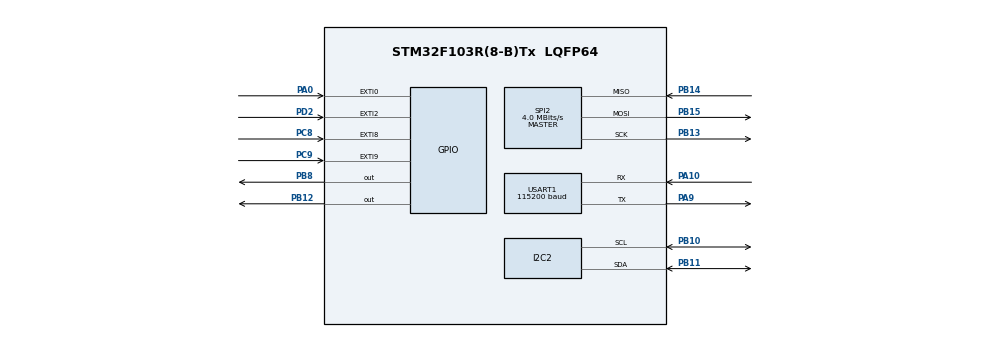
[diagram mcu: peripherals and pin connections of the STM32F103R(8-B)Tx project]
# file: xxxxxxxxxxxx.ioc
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Mcu.Family=STM32F1
Mcu.Name=STM32F103R(8-B)Tx
Mcu.Package=LQFP64
NVIC.EXTI0_IRQn=true\:2\:2\:true\:false\:true\:true\:true
NVIC.EXTI2_IRQn=true\:2\:1\:true\:false\:true\:true\:true
NVIC.EXTI9_5_IRQn=true\:2\:0\:true\:false\:true\:true\:true
NVIC.PriorityGroup=NVIC_PRIORITYGROUP_2
NVIC.RTC_Alarm_IRQn=true\:0\:0\:true\:false\:true\:true\:true
NVIC.RTC_IRQn=true\:1\:2\:true\:false\:true\:true\:true
NVIC.USART1_IRQn=true\:3\:3\:true\:false\:true\:true\:true
PA0-WKUP.GPIO_PuPd=GPIO_PULLDOWN
PA0-WKUP.Signal=GPXTI0
PA10.Mode=Asynchronous
PA10.Signal=USART1_RX
PA9.Mode=Asynchronous
PA9.Signal=USART1_TX
PB10.Mode=I2C
PB10.Signal=I2C2_SCL
PB11.Mode=I2C
PB11.Signal=I2C2_SDA
PB12.GPIO_PuPd=GPIO_PULLUP
PB12.GPIO_Speed=GPIO_SPEED_FREQ_HIGH
PB12.PinState=GPIO_PIN_SET
PB12.Signal=GPIO_Output
PB13.Mode=Full_Duplex_Master
PB13.Signal=SPI2_SCK
PB14.Mode=Full_Duplex_Master
PB14.Signal=SPI2_MISO
PB15.Mode=Full_Duplex_Master
PB15.Signal=SPI2_MOSI
PB8.GPIO_Speed=GPIO_SPEED_FREQ_HIGH
PB8.PinState=GPIO_PIN_SET
PB8.Signal=GPIO_Output
PC14-OSC32_IN.Mode=LSE-External-Oscillator
PC14-OSC32_IN.Signal=RCC_OSC32_IN
PC15-OSC32_OUT.Mode=LSE-External-Oscillator
PC15-OSC32_OUT.Signal=RCC_OSC32_OUT
PC8.GPIO_ModeDefaultEXTI=GPIO_MODE_IT_FALLING
PC8.GPIO_PuPd=GPIO_PULLUP
PC8.Signal=GPXTI8
PC9.GPIO_ModeDefaultEXTI=GPIO_MODE_IT_FALLING
PC9.GPIO_PuPd=GPIO_PULLUP
PC9.Signal=GPXTI9
PD2.GPIO_ModeDefaultEXTI=GPIO_MODE_IT_FALLING
PD2.GPIO_PuPd=GPIO_PULLUP
PD2.Signal=GPXTI2
ProjectManager.HeapSize=0x200
ProjectManager.StackSize=0x400
ProjectManager.TargetToolchain=MDK-ARM V5.27
RCC.APB1Freq_Value=8000000
RCC.APB2Freq_Value=8000000
RCC.RTCClockSelection=RCC_RTCCLKSOURCE_LSE
RTC.Date=19
RTC.Hours=0
RTC.Minutes=30
RTC.Month=RTC_MONTH_AUGUST
RTC.WeekDay=RTC_WEEKDAY_THURSDAY
RTC.Year=20
SPI2.CLKPhase=SPI_PHASE_2EDGE
SPI2.CLKPolarity=SPI_POLARITY_HIGH
SPI2.CRCCalculation=SPI_CRCCALCULATION_ENABLE
SPI2.CalculateBaudRate=4.0 MBits/s
SPI2.Direction=SPI_DIRECTION_2LINES
SPI2.Mode=SPI_MODE_MASTER
SPI2.VirtualType=VM_MASTER
USART1.BaudRate=115200
USART1.VirtualMode=VM_ASYNC
VP_RTC_No_RTC_Output.Mode=RTC_OUT_NO
VP_RTC_VS_RTC_Activate.Mode=RTC_Enabled
VP_RTC_VS_RTC_Calendar.Mode=RTC_Calendar
VP_SYS_VS_ND.Mode=No_Debug
board=custom

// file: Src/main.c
/* USER CODE BEGIN Header */
/**
  ******************************************************************************
  * @file           : main.c
  * @brief          : Main program body
  ******************************************************************************
  * @attention
  *
  * <h2><center>&copy; Copyright (c) 2020 STMicroelectronics.
  * All rights reserved.</center></h2>
  *
  * This software component is licensed by ST under BSD 3-Clause license,
  * the "License"; You may not use this file except in compliance with the
  * License. You may obtain a copy of the License at:
  *                        opensource.org/licenses/BSD-3-Clause
  *
  ******************************************************************************
  */
/* USER CODE END Header */

#include "main.h"

/* USER CODE BEGIN Includes */
#include "ssd1306_tests.h"
#include "stdio.h"
#include "menu.h"
#include "w25qxx.h"
/* USER CODE END Includes */

/* USER CODE BEGIN PD */
#define RXBUFFERSIZE 10
/* USER CODE END PD */

I2C_HandleTypeDef hi2c2;

RTC_HandleTypeDef hrtc;

SPI_HandleTypeDef hspi2;

UART_HandleTypeDef huart1;

/* USER CODE BEGIN PV */
extern int menuType;
RTC_DateTypeDef GetData;

RTC_TimeTypeDef GetTime;
int beep = 0;
volatile int needRead = 0;
uint16_t pageAddr = 10;
volatile int isOperation = 0;

volatile uint8_t aRxBuffer;
uint8_t buffer[256] = {0};
volatile uint8_t bufferCount = 0;
volatile uint8_t startCount = 0;
volatile uint8_t stopCount = 0;
volatile uint32_t pageIndex = 20;
volatile uint32_t startPage = 20;
volatile uint32_t endPage = 20;
volatile uint32_t currentPage = 0;
volatile int inTransfer = 0;
volatile int stop = 0;
volatile int xxxx = 0;
uint8_t totalPage = 0;
/* USER CODE END PV */

void SystemClock_Config(void);
static void MX_GPIO_Init(void);
static void MX_I2C2_Init(void);
static void MX_USART1_UART_Init(void);
static void MX_RTC_Init(void);
static void MX_SPI2_Init(void);

/* USER CODE BEGIN 0 */
int fputc(int ch, FILE *f)
{
  uint8_t temp[1] = {ch};
  HAL_UART_Transmit(&huart1, temp, 1, 2);
  return ch;
}
void write(){
	isOperation = 1;
	 W25qxx_ErasePage(pageIndex);
   W25qxx_WritePage(buffer, pageIndex, 10, 0);
	 pageIndex++;
	 W25qxx_ErasePage(5);
	 W25qxx_WritePage((uint8_t*)&pageIndex, 5, 10, 1);
	 isOperation = 0;
};
void read(){
		W25qxx_ReadPage(buffer,10,10,0);
}
/* USER CODE END 0 */

int main(void)
{

  /* MCU Configuration--------------------------------------------------------*/

  /* Reset of all peripherals, Initializes the Flash interface and the Systick. */
  HAL_Init();

  /* Configure the system clock */
  SystemClock_Config();

  /* Initialize all configured peripherals */
  MX_GPIO_Init();
  MX_I2C2_Init();
  MX_USART1_UART_Init();
  MX_RTC_Init();
  MX_SPI2_Init();
  /* USER CODE BEGIN 2 */
	printf("xxx");
  uint8_t ms[] = {"Hello World!"};
	W25qxx_ErasePage(0);
	W25qxx_WritePage(ms,10,10,0);
	W25qxx_ReadPage(buffer,10,10,0);

  /* USER CODE END 2 */

  /* Infinite loop */
  /* USER CODE BEGIN WHILE */
  while (1)
  {

		if(bufferCount==245)
			{
			if(stop){
				bufferCount = 0;
			}
			printf(buffer);
			write();
			HAL_UART_Receive_IT(&huart1, (uint8_t *)&aRxBuffer, 1);
			}else{
				HAL_UART_Receive_IT(&huart1, (uint8_t *)&aRxBuffer, 1);
			}
    // HAL_GPIO_TogglePin(GPIOC, GPIO_PIN_0);
    // HAL_Delay(500);
    /* USER CODE END WHILE */

  }
}

void SystemClock_Config(void)
{
  RCC_OscInitTypeDef RCC_OscInitStruct = {0};
  RCC_ClkInitTypeDef RCC_ClkInitStruct = {0};
  RCC_PeriphCLKInitTypeDef PeriphClkInit = {0};

  /** Initializes the CPU, AHB and APB busses clocks
  */
  RCC_OscInitStruct.OscillatorType = RCC_OSCILLATORTYPE_HSI | RCC_OSCILLATORTYPE_LSE;
  RCC_OscInitStruct.LSEState = RCC_LSE_ON;
  RCC_OscInitStruct.HSIState = RCC_HSI_ON;
  RCC_OscInitStruct.HSICalibrationValue = RCC_HSICALIBRATION_DEFAULT;
  RCC_OscInitStruct.PLL.PLLState = RCC_PLL_NONE;
  if (HAL_RCC_OscConfig(&RCC_OscInitStruct) != HAL_OK)
  {
    Error_Handler();
  }
  /** Initializes the CPU, AHB and APB busses clocks
  */
  RCC_ClkInitStruct.ClockType = RCC_CLOCKTYPE_HCLK | RCC_CLOCKTYPE_SYSCLK | RCC_CLOCKTYPE_PCLK1 | RCC_CLOCKTYPE_PCLK2;
  RCC_ClkInitStruct.SYSCLKSource = RCC_SYSCLKSOURCE_HSI;
  RCC_ClkInitStruct.AHBCLKDivider = RCC_SYSCLK_DIV1;
  RCC_ClkInitStruct.APB1CLKDivider = RCC_HCLK_DIV1;
  RCC_ClkInitStruct.APB2CLKDivider = RCC_HCLK_DIV1;

  if (HAL_RCC_ClockConfig(&RCC_ClkInitStruct, FLASH_LATENCY_0) != HAL_OK)
  {
    Error_Handler();
  }
  PeriphClkInit.PeriphClockSelection = RCC_PERIPHCLK_RTC;
  PeriphClkInit.RTCClockSelection = RCC_RTCCLKSOURCE_LSE;
  if (HAL_RCCEx_PeriphCLKConfig(&PeriphClkInit) != HAL_OK)
  {
    Error_Handler();
  }
}

static void MX_I2C2_Init(void)
{

  hi2c2.Instance = I2C2;
  hi2c2.Init.ClockSpeed = 100000;
  hi2c2.Init.DutyCycle = I2C_DUTYCYCLE_2;
  hi2c2.Init.OwnAddress1 = 0;
  hi2c2.Init.AddressingMode = I2C_ADDRESSINGMODE_7BIT;
  hi2c2.Init.DualAddressMode = I2C_DUALADDRESS_DISABLE;
  hi2c2.Init.OwnAddress2 = 0;
  hi2c2.Init.GeneralCallMode = I2C_GENERALCALL_DISABLE;
  hi2c2.Init.NoStretchMode = I2C_NOSTRETCH_DISABLE;
  if (HAL_I2C_Init(&hi2c2) != HAL_OK)
  {
    Error_Handler();
  }
  /* USER CODE BEGIN I2C2_Init 2 */
  ssd1306_Init();
  fillBlack();
  init();
  showMenu();
  /* USER CODE END I2C2_Init 2 */
}

static void MX_RTC_Init(void)
{

  RTC_TimeTypeDef sTime = {0};
  RTC_DateTypeDef DateToUpdate = {0};

  /** Initialize RTC Only
  */
  hrtc.Instance = RTC;
  hrtc.Init.AsynchPrediv = RTC_AUTO_1_SECOND;
  hrtc.Init.OutPut = RTC_OUTPUTSOURCE_NONE;
  if (HAL_RTC_Init(&hrtc) != HAL_OK)
  {
    Error_Handler();
  }

  /** Initialize RTC and set the Time and Date
  */
  sTime.Hours = 0x0;
  sTime.Minutes = 0x30;
  sTime.Seconds = 0x0;

  if (HAL_RTC_SetTime(&hrtc, &sTime, RTC_FORMAT_BCD) != HAL_OK)
  {
    Error_Handler();
  }
  DateToUpdate.WeekDay = RTC_WEEKDAY_THURSDAY;
  DateToUpdate.Month = RTC_MONTH_AUGUST;
  DateToUpdate.Date = 0x19;
  DateToUpdate.Year = 0x20;

  if (HAL_RTC_SetDate(&hrtc, &DateToUpdate, RTC_FORMAT_BCD) != HAL_OK)
  {
    Error_Handler();
  }
  /* USER CODE BEGIN RTC_Init 2 */
  HAL_RTC_GetTime(&hrtc, &GetTime, RTC_FORMAT_BIN);
  HAL_RTC_GetDate(&hrtc, &GetData, RTC_FORMAT_BIN);
  printf("%02d/%02d/%02d\r\n", 2000 + GetData.Year, GetData.Month, GetData.Date);
  printf("%02d:%02d:%02d\r\n", GetTime.Hours, GetTime.Minutes, GetTime.Seconds);
  printf("\r\n");
  char str[20];
  sprintf(str, "%02d/%02d/%02d  %02d:%02d:%02d  ", GetData.Year, GetData.Month, GetData.Date, GetTime.Hours, GetTime.Minutes, GetTime.Seconds);
  updateDateTime(str);
  HAL_RTCEx_SetSecond_IT(&hrtc);
  RTC_AlarmTypeDef test;
  /* USER CODE END RTC_Init 2 */
}

static void MX_SPI2_Init(void)
{

  /* SPI2 parameter configuration*/
  hspi2.Instance = SPI2;
  hspi2.Init.Mode = SPI_MODE_MASTER;
  hspi2.Init.Direction = SPI_DIRECTION_2LINES;
  hspi2.Init.DataSize = SPI_DATASIZE_8BIT;
  hspi2.Init.CLKPolarity = SPI_POLARITY_HIGH;
  hspi2.Init.CLKPhase = SPI_PHASE_2EDGE;
  hspi2.Init.NSS = SPI_NSS_SOFT;
  hspi2.Init.BaudRatePrescaler = SPI_BAUDRATEPRESCALER_2;
  hspi2.Init.FirstBit = SPI_FIRSTBIT_MSB;
  hspi2.Init.TIMode = SPI_TIMODE_DISABLE;
  hspi2.Init.CRCCalculation = SPI_CRCCALCULATION_ENABLE;
  hspi2.Init.CRCPolynomial = 10;
  if (HAL_SPI_Init(&hspi2) != HAL_OK)
  {
    Error_Handler();
  }
  /* USER CODE BEGIN SPI2_Init 2 */
  W25qxx_Init();
  /* USER CODE END SPI2_Init 2 */
}

static void MX_USART1_UART_Init(void)
{

  huart1.Instance = USART1;
  huart1.Init.BaudRate = 115200;
  huart1.Init.WordLength = UART_WORDLENGTH_8B;
  huart1.Init.StopBits = UART_STOPBITS_1;
  huart1.Init.Parity = UART_PARITY_NONE;
  huart1.Init.Mode = UART_MODE_TX_RX;
  huart1.Init.HwFlowCtl = UART_HWCONTROL_NONE;
  huart1.Init.OverSampling = UART_OVERSAMPLING_16;
  if (HAL_UART_Init(&huart1) != HAL_OK)
  {
    Error_Handler();
  }
  /* USER CODE BEGIN USART1_Init 2 */
  HAL_UART_Receive_IT(&huart1, (uint8_t *)aRxBuffer, RXBUFFERSIZE);
  /* USER CODE END USART1_Init 2 */
}

static void MX_GPIO_Init(void)
{
  GPIO_InitTypeDef GPIO_InitStruct = {0};

  /* GPIO Ports Clock Enable */
  __HAL_RCC_GPIOC_CLK_ENABLE();
  __HAL_RCC_GPIOA_CLK_ENABLE();
  __HAL_RCC_GPIOB_CLK_ENABLE();
  __HAL_RCC_GPIOD_CLK_ENABLE();

  /*Configure GPIO pin Output Level */
  HAL_GPIO_WritePin(GPIOB, GPIO_PIN_12 | GPIO_PIN_8, GPIO_PIN_SET);

  /*Configure GPIO pin : PA0 */
  GPIO_InitStruct.Pin = GPIO_PIN_0;
  GPIO_InitStruct.Mode = GPIO_MODE_IT_RISING;
  GPIO_InitStruct.Pull = GPIO_PULLDOWN;
  HAL_GPIO_Init(GPIOA, &GPIO_InitStruct);

  /*Configure GPIO pin : PB12 */
  GPIO_InitStruct.Pin = GPIO_PIN_12;
  GPIO_InitStruct.Mode = GPIO_MODE_OUTPUT_PP;
  GPIO_InitStruct.Pull = GPIO_PULLUP;
  GPIO_InitStruct.Speed = GPIO_SPEED_FREQ_HIGH;
  HAL_GPIO_Init(GPIOB, &GPIO_InitStruct);

  /*Configure GPIO pins : PC8 PC9 */
  GPIO_InitStruct.Pin = GPIO_PIN_8 | GPIO_PIN_9;
  GPIO_InitStruct.Mode = GPIO_MODE_IT_FALLING;
  GPIO_InitStruct.Pull = GPIO_PULLUP;
  HAL_GPIO_Init(GPIOC, &GPIO_InitStruct);

  /*Configure GPIO pin : PD2 */
  GPIO_InitStruct.Pin = GPIO_PIN_2;
  GPIO_InitStruct.Mode = GPIO_MODE_IT_FALLING;
  GPIO_InitStruct.Pull = GPIO_PULLUP;
  HAL_GPIO_Init(GPIOD, &GPIO_InitStruct);

  /*Configure GPIO pin : PB8 */
  GPIO_InitStruct.Pin = GPIO_PIN_8;
  GPIO_InitStruct.Mode = GPIO_MODE_OUTPUT_PP;
  GPIO_InitStruct.Pull = GPIO_NOPULL;
  GPIO_InitStruct.Speed = GPIO_SPEED_FREQ_HIGH;
  HAL_GPIO_Init(GPIOB, &GPIO_InitStruct);

  /* EXTI interrupt init*/
  HAL_NVIC_SetPriority(EXTI0_IRQn, 2, 2);
  HAL_NVIC_EnableIRQ(EXTI0_IRQn);

  HAL_NVIC_SetPriority(EXTI2_IRQn, 2, 1);
  HAL_NVIC_EnableIRQ(EXTI2_IRQn);

  HAL_NVIC_SetPriority(EXTI9_5_IRQn, 2, 0);
  HAL_NVIC_EnableIRQ(EXTI9_5_IRQn);
}

/* USER CODE BEGIN 4 */
void HAL_UART_RxCpltCallback(UART_HandleTypeDef *huart)
{
 if (inTransfer)
  {
    if(bufferCount>=246){
			bufferCount=0;
		}else{
			buffer[bufferCount]=aRxBuffer;
			bufferCount++;
		}
  }

	if(stopCount ==3){
		stopCount = 0;

		for (int i = bufferCount-4; i < 246; i++)
    {
      buffer[i] = 0x00;
			bufferCount++;
    }
		inTransfer=0;
		bufferCount = 245;
		stop = 1;
	}
  if (aRxBuffer == 'x')
  {
    stopCount++;
  }else{
		stopCount=0;
	}

}
void HAL_RTCEx_RTCEventCallback(RTC_HandleTypeDef *hrtc)
{
  HAL_RTC_GetTime(hrtc, &GetTime, RTC_FORMAT_BIN);
  HAL_RTC_GetDate(hrtc, &GetData, RTC_FORMAT_BIN);
  // printf("%02d/%02d/%02d\r\n", 2000 + GetData.Year, GetData.Month, GetData.Date);
  // printf("%02d:%02d:%02d\r\n", GetTime.Hours, GetTime.Minutes, GetTime.Seconds);
  // printf("\r\n");
  char str[20];
  sprintf(str, "%02d/%02d/%02d  %02d:%02d:%02d  ", GetData.Year, GetData.Month, GetData.Date, GetTime.Hours, GetTime.Minutes, GetTime.Seconds);
  updateDateTime(str);
}
void HAL_RTC_AlarmAEventCallback(RTC_HandleTypeDef *hrtc)
{

  HAL_GPIO_TogglePin(GPIOB, GPIO_PIN_8);
  beep = 1;
  printf("\r\nalarm\r\n");
}
void HAL_GPIO_EXTI_Callback(uint16_t GPIO_Pin)
{
  if (beep)
  {
    HAL_GPIO_TogglePin(GPIOB, GPIO_PIN_8);
    beep = 0;
    return;
  }
  HAL_Delay(200);
  uint8_t *mes;
  extern int inHandler;
  switch (GPIO_Pin)
  {
  case GPIO_PIN_0:
    mes = "up";
    if (inHandler > 0)
    {
      handleCLick(3);
    }
    else
      up();
    break;
  case GPIO_PIN_8:
    mes = "left";
    if (inHandler > 0)
    {
      handleCLick(2);
    }
    else
      back();
    break;
  case GPIO_PIN_9:
    mes = "down";
    if (inHandler > 0)
    {
      handleCLick(4);
    }
    else
      down();
    break;
  case GPIO_PIN_2:
    mes = "right";
    if (inHandler > 0)
    {
      handleCLick(1);
    }
    else
      go();
    break;
  default:
    break;
  }
  HAL_UART_Transmit_IT(&huart1, mes, sizeof(mes));
}

/* USER CODE END 4 */

void Error_Handler(void)
{
}

/************************ (C) COPYRIGHT STMicroelectronics *****END OF FILE****/
